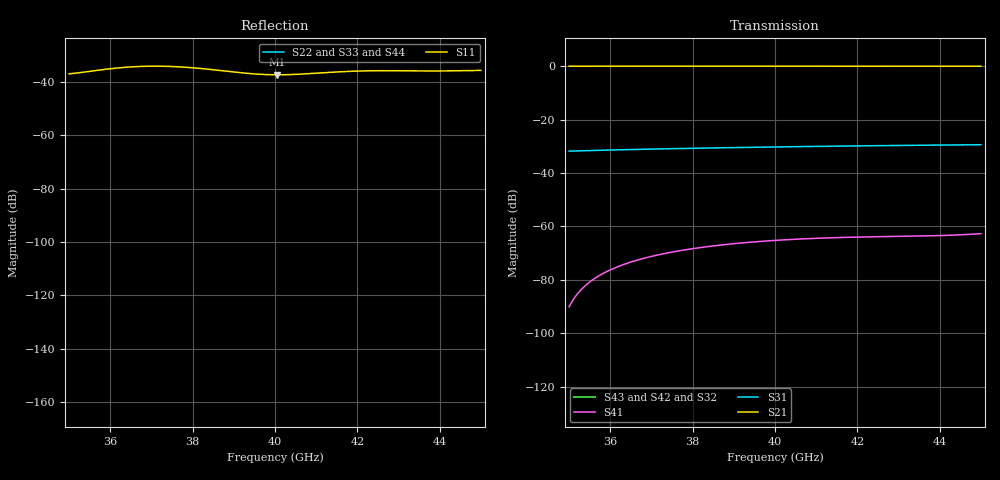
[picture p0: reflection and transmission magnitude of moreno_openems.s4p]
! Moreno cross-guide coupler, openEMS FDTD
! only column 1 (port 1 excited) and, by reciprocity, row 1 are simulated; other entries are zero
! S-parameters are normalised to each port's TE10 wave impedance (generalised
! S-matrix); 'R 50' below is only the placeholder the format requires.
! Reference planes: edges of the common a x a square.
# GHz S MA R 50
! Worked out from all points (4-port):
!   201 points, 35 GHz to 45 GHz, reference 50 ohm
!   strongest paths, dB at 35 GHz, 37.5 GHz, 40 GHz, 42.5 GHz, 45 GHz:
!     S21: 0.0, 0.0, 0.0, 0.0, 0.0
!     S31: -31.8, -30.9, -30.2, -29.8, -29.4
!     S41: -90.1, -69.6, -65.2, -63.9, -62.7
!     S43: -, -, -, -, -
!     S42: -, -, -, -, -
!     S32: -, -, -, -, -
!   lowest |S11| = -37.4 dB at 40.05 GHz (marker M1), VSWR 1.03, Z = 51.3 + j0.42 ohm
!   |S11| at or under -10 dB: start of sweep to end of sweep
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35  0.01403 -145.2  0.9984 -159.8  0.02566 110.2  3.129e-05 142.2
    0.9984 -159.8  0 0.0  0 0.0  0 0.0
    0.02566 110.2  0 0.0  0 0.0  0 0.0
    3.129e-05 142.2  0 0.0  0 0.0  0 0.0
35.55  0.0158 -121.7  0.9997 -165.5  0.02638 104.5  9.722e-05 147.4
       0.9997 -165.5  0 0.0  0 0.0  0 0.0
       0.02638 104.5  0 0.0  0 0.0  0 0.0
       9.722e-05 147.4  0 0.0  0 0.0  0 0.0
36.35  0.01855 -97.1  1.001 -173.8  0.02734 96.2  0.0001969 133.1
       1.001 -173.8  0 0.0  0 0.0  0 0.0
       0.02734 96.2  0 0.0  0 0.0  0 0.0
       0.0001969 133.1  0 0.0  0 0.0  0 0.0
37.45  0.0193 -70.6  1 175.2  0.0285 85.2  0.0003253 112.1
       1 175.2  0 0.0  0 0.0  0 0.0
       0.0285 85.2  0 0.0  0 0.0  0 0.0
       0.0003253 112.1  0 0.0  0 0.0  0 0.0
40.05  0.01346 17.7  0.9992 150.5  0.03078 60.5  0.0005501 68.9
       0.9992 150.5  0 0.0  0 0.0  0 0.0
       0.03078 60.5  0 0.0  0 0.0  0 0.0
       0.0005501 68.9  0 0.0  0 0.0  0 0.0
42.65  0.01606 106.8  1 126.6  0.0326 36.6  0.000644 35.9
       1 126.6  0 0.0  0 0.0  0 0.0
       0.0326 36.6  0 0.0  0 0.0  0 0.0
       0.000644 35.9  0 0.0  0 0.0  0 0.0
45  0.01625 -179.7  0.9975 105.8  0.03386 15.8  0.0007311 16.7
    0.9975 105.8  0 0.0  0 0.0  0 0.0
    0.03386 15.8  0 0.0  0 0.0  0 0.0
    0.0007311 16.7  0 0.0  0 0.0  0 0.0
